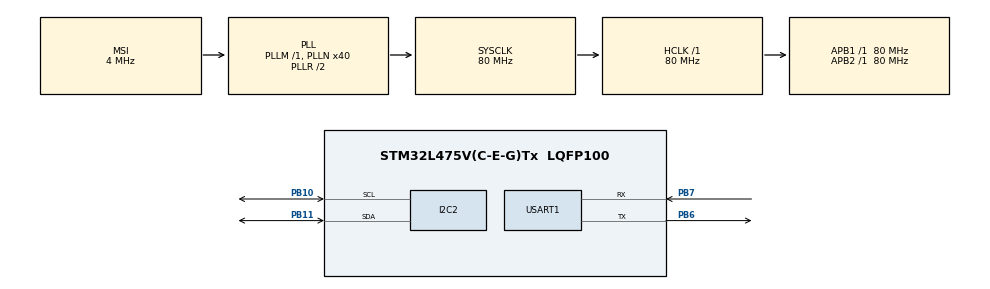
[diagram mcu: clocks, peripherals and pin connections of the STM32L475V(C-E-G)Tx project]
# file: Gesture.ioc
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I2C2.Timing=0x10D19CE4
Mcu.Family=STM32L4
Mcu.Name=STM32L475V(C-E-G)Tx
Mcu.Package=LQFP100
NVIC.PriorityGroup=NVIC_PRIORITYGROUP_4
PB10.Mode=I2C
PB10.Signal=I2C2_SCL
PB11.Mode=I2C
PB11.Signal=I2C2_SDA
PB6.Mode=Asynchronous
PB6.Signal=USART1_TX
PB7.Mode=Asynchronous
PB7.Signal=USART1_RX
ProjectManager.HeapSize=0x2000
ProjectManager.StackSize=0x4000
ProjectManager.TargetToolchain=STM32CubeIDE
RCC.ADCFreq_Value=48000000
RCC.AHBFreq_Value=80000000
RCC.APB1Freq_Value=80000000
RCC.APB1TimFreq_Value=80000000
RCC.APB2Freq_Value=80000000
RCC.APB2TimFreq_Value=80000000
RCC.CortexFreq_Value=80000000
RCC.HCLKFreq_Value=80000000
RCC.HSE_VALUE=8000000
RCC.HSI_VALUE=16000000
RCC.LSE_VALUE=32768
RCC.MSI_VALUE=4000000
RCC.PLLN=40
RCC.PLLSAI1N=24
RCC.SYSCLKFreq_VALUE=80000000
RCC.SYSCLKSource=RCC_SYSCLKSOURCE_PLLCLK
RCC.USBFreq_Value=48000000
RCC.VCOOutputFreq_Value=160000000
USART1.VirtualMode-Asynchronous=VM_ASYNC
board=B-L475E-IOT01A2

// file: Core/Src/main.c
/* USER CODE BEGIN Header */
/**
  ******************************************************************************
  * @file           : main.c
  * @brief          : Main program body
  ******************************************************************************
  * @attention
  *
  * Copyright (c) 2024 STMicroelectronics.
  * All rights reserved.
  *
  * This software is licensed under terms that can be found in the LICENSE file
  * in the root directory of this software component.
  * If no LICENSE file comes with this software, it is provided AS-IS.
  *
  ******************************************************************************
  */
/* USER CODE END Header */
#include "main.h"
#include "i2c.h"
#include "usart.h"
#include "gpio.h"

/* USER CODE BEGIN Includes */
#include "stdio.h"
#include "app.h"
#include "CycleCounter.h"
#include "stm32l4xx_hal.h"
#include "stm32l4xx_hal_i2c.h"
#include "lsm6dsl_reg.h"
#include "math.h"
#include "float.h"
#include "data.h"
#include "string.h"

/* USER CODE END Includes */

/* USER CODE BEGIN PTD */
I2C_HandleTypeDef hi2c1;
/* USER CODE END PTD */

/* USER CODE BEGIN PD */
#define LSM6DSL_I2C_ADDR 0x6A
#define FILTER_SIZE 10
/* USER CODE END PD */

/* USER CODE BEGIN PV */
// Buffer for accelerometer data
int16_t accel_data[3];
qdata quantized_data[32];
uint8_t sequence_for_pred[96];

// Circular buffer to store past accelerometer readings
typedef struct {
    float x[FILTER_SIZE];
    float y[FILTER_SIZE];
    float z[FILTER_SIZE];
    uint8_t index;
} accel_buffer_t;

// Structure to hold filtered accelerometer data
typedef struct {
    float x;
    float y;
    float z;
} filtered_accel_t;

/* USER CODE END PV */

void SystemClock_Config(void);
/* USER CODE BEGIN PFP */
__attribute__((weak)) void _write(char* ptr)
{
HAL_UART_Transmit(&huart1, (uint8_t*)ptr, strlen(ptr), HAL_MAX_DELAY);

}

static int32_t platform_write(void *handle, uint8_t reg, const uint8_t *bufp, uint16_t len) {
	 HAL_I2C_Mem_Write((I2C_HandleTypeDef *)handle, LSM6DSL_I2C_ADDR << 1, reg, I2C_MEMADD_SIZE_8BIT, (uint8_t *)bufp, len, HAL_MAX_DELAY);
	 return 0;
}
static int32_t platform_read(void *handle, uint8_t reg, uint8_t *bufp, uint16_t len) {
	 HAL_I2C_Mem_Read((I2C_HandleTypeDef *)handle, LSM6DSL_I2C_ADDR << 1, reg, I2C_MEMADD_SIZE_8BIT, bufp, len, HAL_MAX_DELAY);
	    return 0;
}
static void platform_delay(uint32_t ms) {
	HAL_Delay(ms);
}

// Function to calculate the mean
float calculate_mean(float data[], int n) {
    float sum = 0;
    for (int i = 0; i < n; i++) {
        sum += data[i];
    }
    return sum / n;
}

// Function to calculate the standard deviation
float calculate_std(float data[], int n, float mean) {

    if (isnan(mean)){
        fprintf(stderr, "Error: Mean is NAN.\n");
        return NAN;
    }

    float sum_squared_diff = 0;
    for (int i = 0; i < n; i++) {
        sum_squared_diff += pow(data[i] - mean, 2);
    }
    return sqrt(sum_squared_diff / n); // Population standard deviation

}

// Function to quantize a single double value to int8
uint8_t quantize_float(float value, float scale, int zero_point) {
    float quantized_float = round((value - (-zero_point * scale)) / scale);
    if (quantized_float > 255) return 255;
    if (quantized_float < 0) return 0;
    return (uint8_t)quantized_float;
}

// Function to calculate the moving average of an array
float moving_average(float* data, uint8_t size) {
    float sum = 0.0;
    for (uint8_t i = 0; i < size; i++) {
        sum += data[i];
    }
    return sum / size;
}

// Initialize the circular buffer
void init_buffer(accel_buffer_t* buffer) {
    for (uint8_t i = 0; i < FILTER_SIZE; i++) {
        buffer->x[i] = 0.0;
        buffer->y[i] = 0.0;
        buffer->z[i] = 0.0;
    }
    buffer->index = 0;
}

// Update the circular buffer with new accelerometer readings
void update_buffer(accel_buffer_t* buffer, float x, float y, float z) {
    buffer->x[buffer->index] = x;
    buffer->y[buffer->index] = y;
    buffer->z[buffer->index] = z;
    buffer->index = (buffer->index + 1) % FILTER_SIZE;
}

/* USER CODE END PFP */

/* USER CODE BEGIN 0 */
stmdev_ctx_t dev_ctx;
extern int latency;
extern int try_var;
/* USER CODE END 0 */

int main(void)
{

  /* MCU Configuration--------------------------------------------------------*/

  /* Reset of all peripherals, Initializes the Flash interface and the Systick. */
  HAL_Init();

  /* Configure the system clock */
  SystemClock_Config();

  /* Initialize all configured peripherals */
  MX_GPIO_Init();
  MX_USART1_UART_Init();
  MX_I2C2_Init();
  /* USER CODE BEGIN 2 */
  // Initialize the LSM6DSL driver
  dev_ctx.write_reg = platform_write;
  dev_ctx.read_reg = platform_read;
  dev_ctx.handle = &hi2c2;

  int result_app = 0;
    //printf("Number of cycles required is: %d\n", latency);

  // Initialize the sensor
  uint8_t whoamI = 0;
  lsm6dsl_device_id_get(&dev_ctx, &whoamI);
  if (whoamI != LSM6DSL_ID) {
	  _write("ERROR, accelerometer not found\r\n");

    while (1);
  }

  //_write("Accelerometer initialized successfully\r\n");

  // Enable accelerometer (104 Hz, ±8g)
  lsm6dsl_xl_data_rate_set(&dev_ctx, LSM6DSL_XL_ODR_12Hz5);
  lsm6dsl_xl_full_scale_set(&dev_ctx, LSM6DSL_8g);

    //printf("Inference starting...\r\n");

  /* USER CODE END 2 */

  /* Infinite loop */
  /* USER CODE BEGIN WHILE */
  float sequence[96];
  float magnitude_buffer[9];
  int i = 0, k = 3;
  char msg[100];
  uint8_t movement = 0;

  accel_buffer_t accel_buffer;
  filtered_accel_t filtered_accel;

  init_buffer(&accel_buffer);

  while (1)
  {
	 // Read accelerometer data
	 lsm6dsl_acceleration_raw_get(&dev_ctx, accel_data);

	 // Convert raw values to g
	 float x = accel_data[0] * 0.244f / 1000 * 9.81f;
	 float y = accel_data[1] * 0.244f / 1000 * 9.81f;
	 float z = accel_data[2] * 0.244f / 1000 * 9.81f;

   update_buffer(&accel_buffer, x, y, z);

   filtered_accel.x = moving_average(accel_buffer.x, FILTER_SIZE);
   filtered_accel.y = moving_average(accel_buffer.y, FILTER_SIZE);
   filtered_accel.z = moving_average(accel_buffer.z, FILTER_SIZE);

	 magnitude_buffer[i] = filtered_accel.x;
	 magnitude_buffer[i+1] = filtered_accel.y;
	 magnitude_buffer[i+2] = filtered_accel.z;

   float magnitude_x = 0, magnitude_y = 0, magnitude_z = 0, magnitude = 0;

   if(!movement) {
    i+=3;

    if(i==9) {
     i = 0;
     magnitude_x = 0;
     magnitude_y = 0;
     magnitude_z = 0;
     magnitude = 0;

		 for(int j = 0; j < 3; j++) {

				 magnitude_x += magnitude_buffer[j*3];

         magnitude_y += magnitude_buffer[j*3 + 1];

         magnitude_z += magnitude_buffer[j*3 + 2];

		 }

     magnitude_x /= 3;
     magnitude_y /= 3;
     magnitude_z /= 3;

     magnitude = sqrt(magnitude_x*magnitude_x + magnitude_y*magnitude_y + magnitude_z*magnitude_z);
	    //we start collecting the sequence if we have not been still for too long
      if(magnitude > 1.1 * 9.81f) {
          sequence[0] = magnitude_buffer[6];
          sequence[1] = magnitude_buffer[7];
          sequence[2] = magnitude_buffer[8];
        //_write("Movement recorded\r\n");
          movement = 1;
      }

	  }
  }

   else {
     sequence[k] = filtered_accel.x;
		 sequence[k+1] = filtered_accel.y;
		 sequence[k+2] = filtered_accel.z;
		 k+=3;
   }

	 if(k == 96) { //sequence ready
     //_write("sequence is ready\r\n");
		 k = 0;
     movement = 0;

		 //take mean and std
     float sequence_x[32];
     float sequence_y[32];
     float sequence_z[32];

     for(int j = 0; j < 32; j++) {
      sequence_x[j] = sequence[j*3];
      sequence_y[j] = sequence[j*3 + 1];
      sequence_z[j] = sequence[j*3 + 2];
     }

     //standardization

     float mean_x = calculate_mean(sequence_x, 32);
     float mean_y = calculate_mean(sequence_y, 32);
     float mean_z = calculate_mean(sequence_z, 32);

     float std_x = calculate_std(sequence_x, 32, mean_x);
     float std_y = calculate_std(sequence_y, 32, mean_y);
     float std_z = calculate_std(sequence_z, 32, mean_z);

    //  _write("new sequence: \r\n");

    //  for(int j = 0; j < 32; j++) {
    //     snprintf(msg, sizeof(msg), "X: %.3f g, Y: %.3f g, Z: %.3f g\r\n", sequence_x[j], sequence_y[j], sequence_z[j]);
    //     _write(msg);
    //  }

     for(int j = 0; j < 32; j++) {
        sequence_x[j] = (sequence_x[j] - mean_x) / std_x;
        sequence_y[j] = (sequence_y[j] - mean_y) / std_y;
        sequence_z[j] = (sequence_z[j] - mean_z) / std_z;
    }

    // HAL_UART_Transmit(&huart1, "0,", strlen("0,"), HAL_MAX_DELAY);

    // char buffer[100];
    // HAL_UART_Transmit(&huart1, "\"[", strlen("\"["), HAL_MAX_DELAY);
    // for(int j = 0; j < 32; j++) {
    //   if(j != 31)
    //     snprintf(buffer, sizeof(buffer), "%.6f, ", sequence_x[j]);
    //   else
    //     snprintf(buffer, sizeof(buffer), "%.6f", sequence_x[j]);
    //   HAL_UART_Transmit(&huart1, (uint8_t *)buffer, strlen(buffer), HAL_MAX_DELAY);

    // }
    // HAL_UART_Transmit(&huart1, "]\",", strlen("]\","), HAL_MAX_DELAY);

    // HAL_UART_Transmit(&huart1, "\"[", strlen("\"["), HAL_MAX_DELAY);
    // for(int j = 0; j < 32; j++) {
    //   if(j != 31)
    //     snprintf(buffer, sizeof(buffer), "%.6f, ", sequence_y[j]);
    //   else
    //     snprintf(buffer, sizeof(buffer), "%.6f", sequence_y[j]);
    //   HAL_UART_Transmit(&huart1, (uint8_t *)buffer, strlen(buffer), HAL_MAX_DELAY);
    // }
    // HAL_UART_Transmit(&huart1, "]\",", strlen("]\","), HAL_MAX_DELAY);

    // HAL_UART_Transmit(&huart1, "\"[", strlen("\"["), HAL_MAX_DELAY);
    // for(int j = 0; j < 32; j++) {
    //   if(j != 31)
    //     snprintf(buffer, sizeof(buffer), "%.6f, ", sequence_z[j]);
    //   else
    //     snprintf(buffer, sizeof(buffer), "%.6f", sequence_z[j]);
    //   HAL_UART_Transmit(&huart1, (uint8_t *)buffer, strlen(buffer), HAL_MAX_DELAY);
    // }
    // HAL_UART_Transmit(&huart1, "]\"\r\n,", strlen("]\"\r\n"), HAL_MAX_DELAY);

    //quantization

    float scale = 0.021;
    uint8_t zero_point = 131;

    for (int j = 0; j < 32; j++) {
        quantized_data[j].x = quantize_float(sequence_x[j], scale, zero_point);
        quantized_data[j].y = quantize_float(sequence_y[j], scale, zero_point);
        quantized_data[j].z = quantize_float(sequence_z[j], scale, zero_point);

        //  snprintf(msg, sizeof(msg), "X: %d g, Y: %d g, Z: %d g\r\n", quantized_x[j], quantized_y[j], quantized_z[j]);
	      // _write(msg);
    }
    // _write("new sequence: \r\n");

    //  for(int j = 0; j < 32; j++) {
    //     snprintf(msg, sizeof(msg), "X: %.3f -> %d, Y: %.3f -> %d, Z: %.3f ->%d\r\n", sequence_x[j], quantized_data[j].x, sequence_y[j], quantized_data[j].y, sequence_z[j], quantized_data[j].z);
    //     _write(msg);
    //  }

  //now we need to combine everything into a single array of 96 elements.
    for(int j = 0; j < 32; j++) {
      sequence_for_pred[j*3] = quantized_data[j].x;
      sequence_for_pred[j*3 + 1] = quantized_data[j].y;
      sequence_for_pred[j*3 + 2] = quantized_data[j].z;
    }

   //Print values via USART
	//  snprintf(msg, sizeof(msg), "X: %.3f g, Y: %.3f g, Z: %.3f g\r\n", quantized_x[j], quantized_y[j], quantized_z[j]);
	//  _write(msg);

     result_app = application(sequence_for_pred);

     HAL_Delay(1000);

  }
    //result_app = application(sequence_for_pred);

    HAL_Delay(15);

	}

	 // Use the values (e.g., print or process further)
    /* USER CODE END WHILE */

    /* USER CODE BEGIN 3 */
//	  printf("Number of cycles required is: %d\n", latency);
//	  printf("try_var = %d\n", try_var);
}
  /* USER CODE END 3 */

void SystemClock_Config(void)
{
  RCC_OscInitTypeDef RCC_OscInitStruct = {0};
  RCC_ClkInitTypeDef RCC_ClkInitStruct = {0};

  /** Configure the main internal regulator output voltage
  */
  if (HAL_PWREx_ControlVoltageScaling(PWR_REGULATOR_VOLTAGE_SCALE1) != HAL_OK)
  {
    Error_Handler();
  }

  /** Initializes the RCC Oscillators according to the specified parameters
  * in the RCC_OscInitTypeDef structure.
  */
  RCC_OscInitStruct.OscillatorType = RCC_OSCILLATORTYPE_MSI;
  RCC_OscInitStruct.MSIState = RCC_MSI_ON;
  RCC_OscInitStruct.MSICalibrationValue = 0;
  RCC_OscInitStruct.MSIClockRange = RCC_MSIRANGE_6;
  RCC_OscInitStruct.PLL.PLLState = RCC_PLL_ON;
  RCC_OscInitStruct.PLL.PLLSource = RCC_PLLSOURCE_MSI;
  RCC_OscInitStruct.PLL.PLLM = 1;
  RCC_OscInitStruct.PLL.PLLN = 40;
  RCC_OscInitStruct.PLL.PLLP = RCC_PLLP_DIV7;
  RCC_OscInitStruct.PLL.PLLQ = RCC_PLLQ_DIV2;
  RCC_OscInitStruct.PLL.PLLR = RCC_PLLR_DIV2;
  if (HAL_RCC_OscConfig(&RCC_OscInitStruct) != HAL_OK)
  {
    Error_Handler();
  }

  /** Initializes the CPU, AHB and APB buses clocks
  */
  RCC_ClkInitStruct.ClockType = RCC_CLOCKTYPE_HCLK|RCC_CLOCKTYPE_SYSCLK
                              |RCC_CLOCKTYPE_PCLK1|RCC_CLOCKTYPE_PCLK2;
  RCC_ClkInitStruct.SYSCLKSource = RCC_SYSCLKSOURCE_PLLCLK;
  RCC_ClkInitStruct.AHBCLKDivider = RCC_SYSCLK_DIV1;
  RCC_ClkInitStruct.APB1CLKDivider = RCC_HCLK_DIV1;
  RCC_ClkInitStruct.APB2CLKDivider = RCC_HCLK_DIV1;

  if (HAL_RCC_ClockConfig(&RCC_ClkInitStruct, FLASH_LATENCY_4) != HAL_OK)
  {
    Error_Handler();
  }
}

void Error_Handler(void)
{
  __disable_irq();
  while (1)
  {
  }
}
